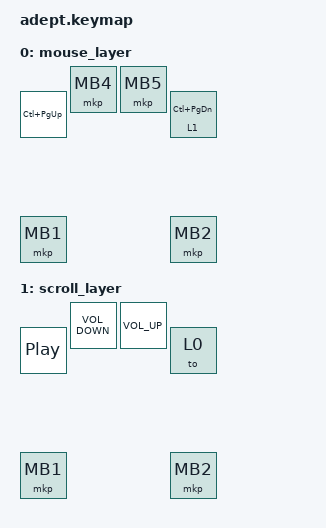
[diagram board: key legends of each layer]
/*
    No chosen zmk,matrix-transform here if using ZMK stuidio.
    https://zmk.dev/docs/features/studio#adding-zmk-studio-support-to-a-keyboard
*/

#include <behaviors.dtsi>
#include <dt-bindings/zmk/bt.h>
#include <input/processors.dtsi>
#include <dt-bindings/zmk/keys.h>
#include <dt-bindings/zmk/mouse.h>
#include <dt-bindings/zmk/outputs.h>
#include <dt-bindings/zmk/pointing.h>
#include <dt-bindings/zmk/behaviors.h>
#include <dt-bindings/zmk/input_transform.h>
#include <zephyr/dt-bindings/input/input-event-codes.h>

// keep all behavior settings for zmk studio
#define ZMK_BEHAVIORS_OMIT_KT

&sk { quick-release; };

&sl { release-after-ms = <1500>; };

&lt {
    flavor = "balanced";
    tapping-term-ms = <200>;
};

/ {
    behaviors {
        ht: hold_tap {
            compatible = "zmk,behavior-hold-tap";
            #binding-cells = <2>;
            flavor = "hold-preferred";
            tapping-term-ms = <200>;
            quick-tap-ms = <150>;
            require-prior-idle-ms = <100>;
            bindings = <&kp>, <&kp>;
        };
    };

    combos {
        compatible = "zmk,combos";

        combo_mb3 {
            timeout-ms = <100>;
            key-positions = <4 5>;
            bindings = <&mkp MB3>;
            layers = <0 1>;
        };

        combo_scroll_layer {
            timeout-ms = <70>;
            key-positions = <2 3>;
            bindings = <&to 1>;
            layers = <0>;
        };

        combo_esc {
            timeout-ms = <70>;
            key-positions = <0 1>;
            bindings = <&kp ESC>;
            layers = <0 1>;
        };

        combo_close_tab {
            timeout-ms = <70>;
            key-positions = <1 2>;
            bindings = <&kp LC(W)>;
            layers = <0 1>;
        };

        combo_switch_app {
            timeout-ms = <70>;
            key-positions = <0 4>;
            bindings = <&kp LA(TAB)>;
            layers = <0 1>;
        };

        combo_close_app {
            timeout-ms = <70>;
            key-positions = <0 3>;
            bindings = <&kp LA(F4)>;
            layers = <0 1>;
        };

        combo_ble_reset {
            timeout-ms = <150>;
            key-positions = <0 1 2 3>;
            bindings = <&bt BT_CLR>;
            layers = <0>;
        };

        combo_bootloader {
            timeout-ms = <150>;
            key-positions = <0 3 4 5>;
            bindings = <&bootloader>;
            layers = <0>;
        };
    };

    keymap {
        compatible = "zmk,keymap";
        mouse_layer {
            bindings = <
        //╭────────────────┬──────────┬─────────┬──────────────────────────────╮
        //│  Left Tab      │ Previous │ Next    │ scroll_layer/Right Tab       │
            &kp LC(PAGE_UP)  &mkp MB4   &mkp MB5  &lt 1 LC(PAGE_DOWN)     
        //├────────────────┼──────────┼─────────┼──────────────────────────────┤
        //│  Left Click    │          │         │ Right Click                  │
              &mkp MB1                            &mkp MB2     
        //╰────────────────┴──────────┴─────────┴──────────────────────────────╯
            >;
        };

        scroll_layer {
            bindings = <
        //╭─────────────────┬───────────────────┬────────────────┬─────────────────╮
        //│  Play&Pause     │ Vol_down          │ Vol_up         │ to_0            │
            &kp C_PLAY_PAUSE  &kp C_VOLUME_DOWN   &kp C_VOLUME_UP  &to 0
        //├─────────────────┼───────────────────┼────────────────┼─────────────────┤
        //│  Left Click     │                   │                │ Right Click     │
              &mkp MB1                                             &mkp MB2     
        //╰─────────────────┴───────────────────┴────────────────┴─────────────────╯
            >;
        };

        extra1_layer { status = "reserved"; };

        extra2_layer { status = "reserved"; };
    };
};
